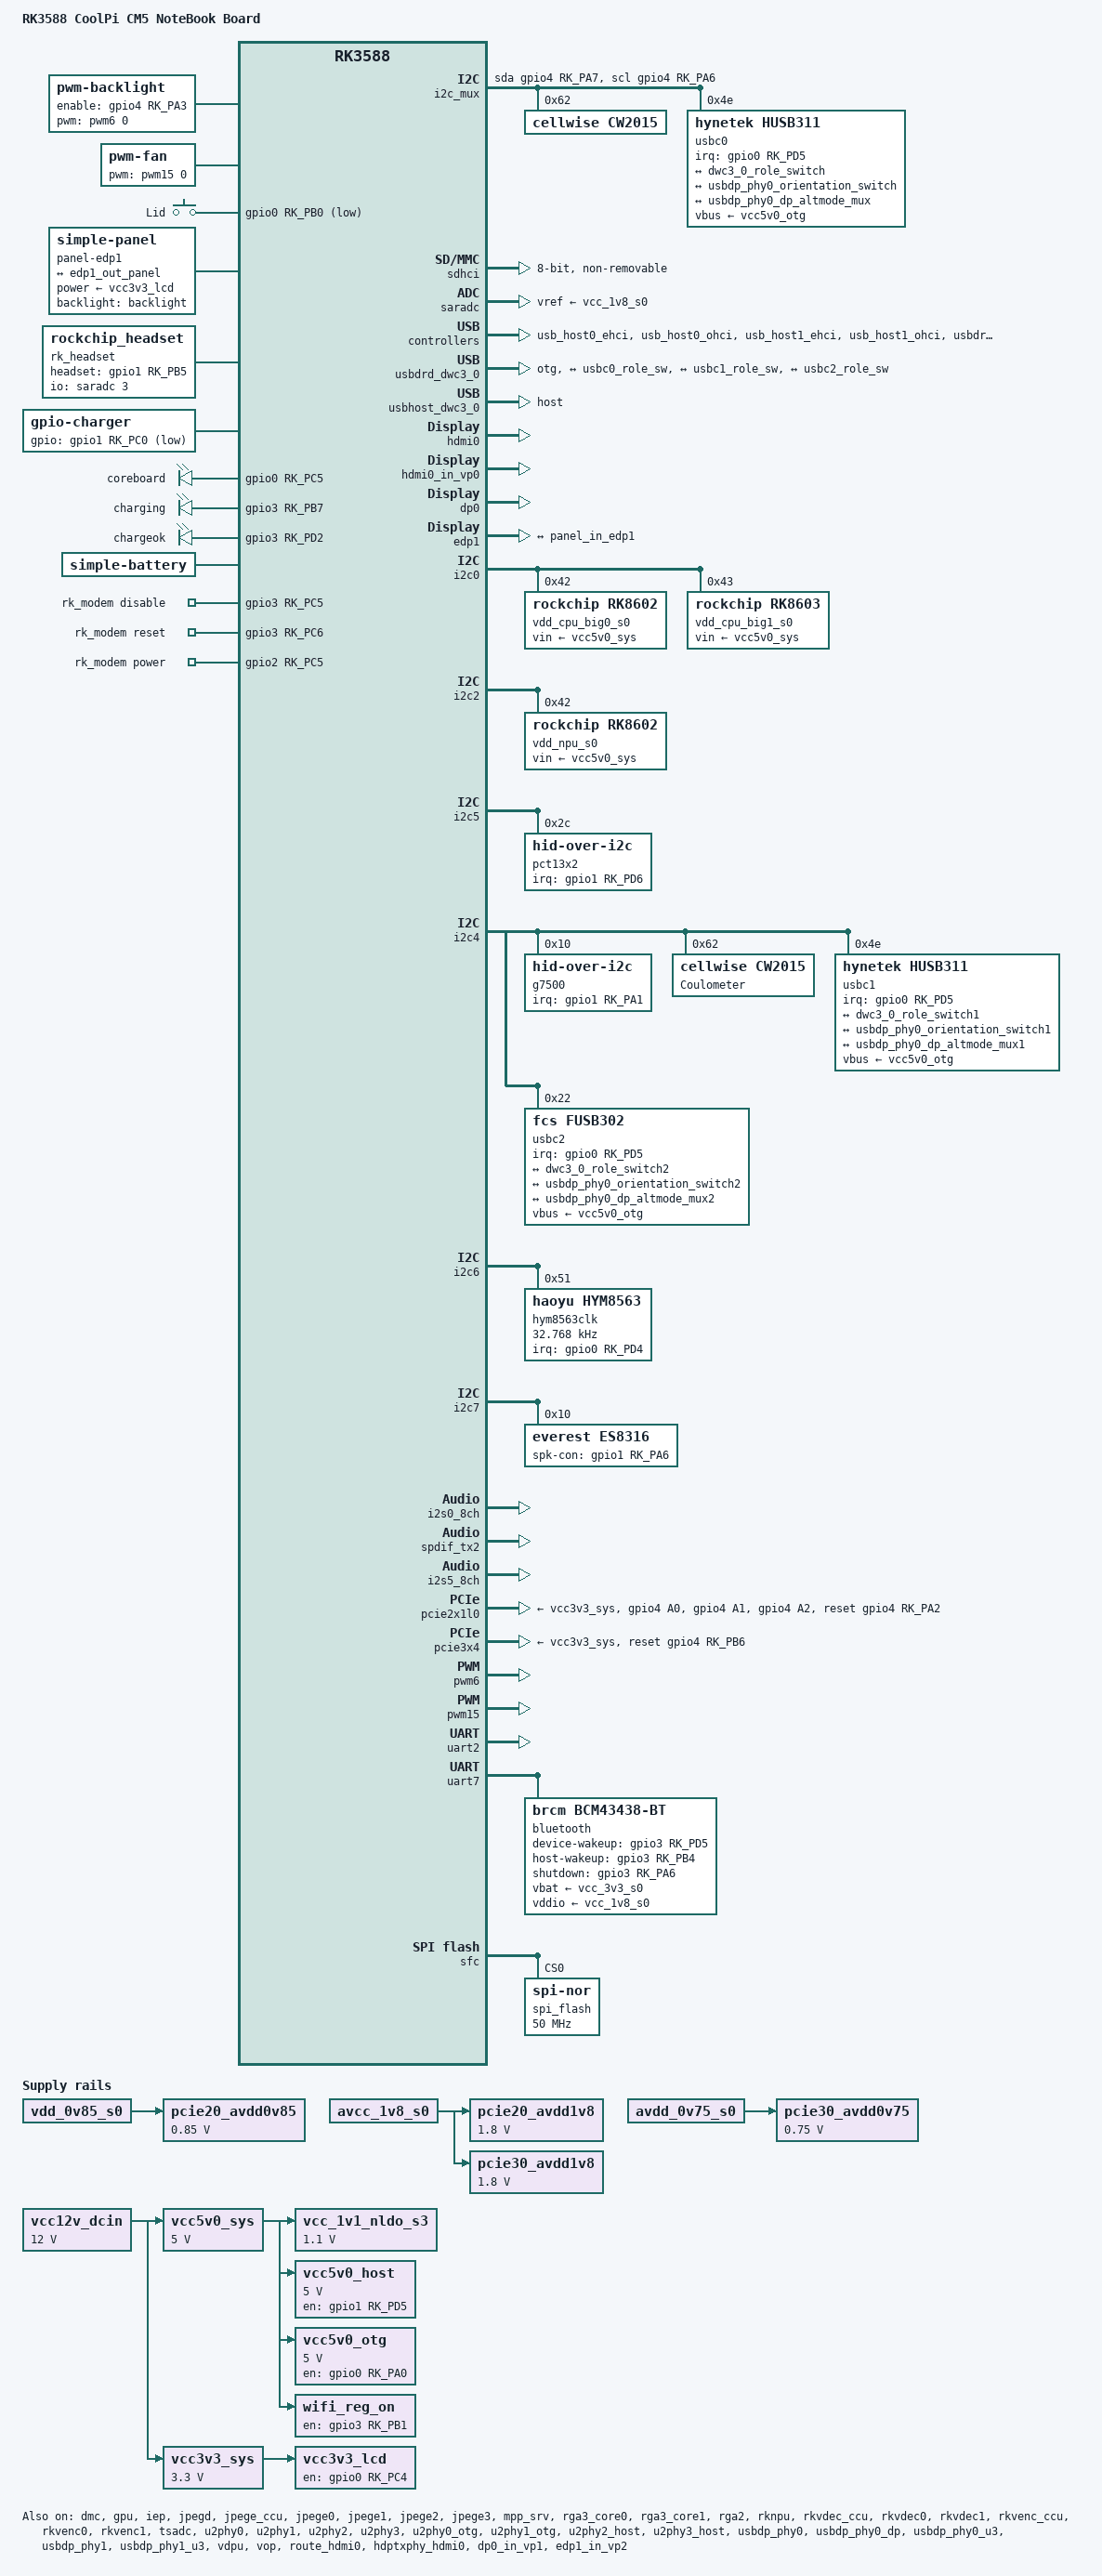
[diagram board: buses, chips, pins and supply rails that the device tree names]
// SPDX-License-Identifier: (GPL-2.0+ OR MIT)
/*
 * Copyright (c) 2021 Rockchip Electronics Co., Ltd.
 *
 */

/dts-v1/;

#include "dt-bindings/usb/pd.h"
#include "rk3588.dtsi"
#include <dt-bindings/gpio/gpio.h>
#include <dt-bindings/pwm/pwm.h>
#include <dt-bindings/pinctrl/rockchip.h>
#include <dt-bindings/input/rk-input.h>
#include <dt-bindings/display/drm_mipi_dsi.h>
#include <dt-bindings/display/rockchip_vop.h>
#include <dt-bindings/sensor-dev.h>
#include "rk3588-rk806-single.dtsi"
#include "rk3588-cpu-swap.dtsi"

/ {
	model = "RK3588 CoolPi CM5 NoteBook Board";
	compatible = "rockchip,rk3588-core", "rockchip,rk3588";

	aliases {
		mmc0 = &sdhci;
		mmc1 = &sdio;
		mmc2 = &sdmmc;
		serial0 = &uart2;
		serial1 = &uart7;
		serial2 = &uart6;
		serial3 = &uart3;
		serial4 = &uart4;
		serial5 = &uart5;
		serial6 = &uart0;
		serial7 = &uart9;
		serial8 = &uart8;
		serial9 = &uart1;
	};

	cspmu: cspmu@fd10c000 {
		compatible = "rockchip,cspmu";
		reg = <0x0 0xfd10c000 0x0 0x1000>,
		      <0x0 0xfd10d000 0x0 0x1000>,
		      <0x0 0xfd10e000 0x0 0x1000>,
		      <0x0 0xfd10f000 0x0 0x1000>,
		      <0x0 0xfd12c000 0x0 0x1000>,
		      <0x0 0xfd12d000 0x0 0x1000>,
		      <0x0 0xfd12e000 0x0 0x1000>,
		      <0x0 0xfd12f000 0x0 0x1000>;
	};

	debug: debug@fd104000 {
		compatible = "rockchip,debug";
		reg = <0x0 0xfd104000 0x0 0x1000>,
		      <0x0 0xfd105000 0x0 0x1000>,
		      <0x0 0xfd106000 0x0 0x1000>,
		      <0x0 0xfd107000 0x0 0x1000>,
		      <0x0 0xfd124000 0x0 0x1000>,
		      <0x0 0xfd125000 0x0 0x1000>,
		      <0x0 0xfd126000 0x0 0x1000>,
		      <0x0 0xfd127000 0x0 0x1000>;
	};

	fiq_debugger: fiq-debugger {
		compatible = "rockchip,fiq-debugger";
		rockchip,serial-id = <9>;
		rockchip,wake-irq = <0>;
		/* If enable uart uses irq instead of fiq */
		rockchip,irq-mode-enable = <1>;
		rockchip,baudrate = <115200>;  /* Only 115200 and 1500000 */
		interrupts = <GIC_SPI 423 IRQ_TYPE_LEVEL_LOW>;
		pinctrl-names = "default";
		pinctrl-0 = <&uart2m0_xfer>;
		status = "disabled";
	};

	ramoops: ramoops@110000 {
		compatible = "ramoops";
		reg = <0x0 0x110000 0x0 0xf0000>;
		record-size = <0x20000>;
		console-size = <0x80000>;
		ftrace-size = <0x00000>;
		pmsg-size = <0x50000>;
	};

	reserved-memory {
		#address-cells = <2>;
		#size-cells = <2>;
		ranges;

		cma {
			compatible = "shared-dma-pool";
			reusable;
			reg = <0x0 (256 * 0x100000) 0x0 (128 * 0x100000)>;
			linux,cma-default;
		};

		drm_logo: drm-logo@0 {
			compatible = "rockchip,drm-logo";
			reg = <0x0 0x0 0x0 0x0>;
		};
		
		drm_cubic_lut: drm-cubic-lut@0 {
			compatible = "rockchip,drm-cubic-lut";
			reg = <0x0 0x0 0x0 0x0>;
		};
	};

	backlight: backlight {
		compatible = "pwm-backlight";
		brightness-levels = <
			  0  20  20  21  21  22  22  23
			 23  24  24  25  25  26  26  27
			 27  28  28  29  29  30  30  31
			 31  32  32  33  33  34  34  35
			 35  36  36  37  37  38  38  39
			 40  41  42  43  44  45  46  47
			 48  49  50  51  52  53  54  55
			 56  57  58  59  60  61  62  63
			 64  65  66  67  68  69  70  71
			 72  73  74  75  76  77  78  79
			 80  81  82  83  84  85  86  87
			 88  89  90  91  92  93  94  95
			 96  97  98  99 100 101 102 103
			104 105 106 107 108 109 110 111
			112 113 114 115 116 117 118 119
			120 121 122 123 124 125 126 127
			128 129 130 131 132 133 134 135
			136 137 138 139 140 141 142 143
			144 145 146 147 148 149 150 151
			152 153 154 155 156 157 158 159
			160 161 162 163 164 165 166 167
			168 169 170 171 172 173 174 175
			176 177 178 179 180 181 182 183
			184 185 186 187 188 189 190 191
			192 193 194 195 196 197 198 199
			200 201 202 203 204 205 206 207
			208 209 210 211 212 213 214 215
			216 217 218 219 220 221 222 223
			224 225 226 227 228 229 230 231
			232 233 234 235 236 237 238 239
			240 241 242 243 244 245 246 247
			248 249 250 251 252 253 254 255
		>;
		default-brightness-level = <200>;
	};

	hdmi0_sound: hdmi0-sound {
		status = "disabled";
		compatible = "rockchip,hdmi";
		rockchip,mclk-fs = <128>;
		rockchip,card-name = "rockchip-hdmi0";
		rockchip,cpu = <&i2s5_8ch>;
		rockchip,codec = <&hdmi0>;
		rockchip,jack-det;
	};

	fan: pwm-fan {
		compatible = "pwm-fan";
		cooling-min-state = <0>;
		cooling-max-state = <3>;
		#cooling-cells = <2>;
		pwms = <&pwm15 0 50000 0>;
		cooling-levels = <1 50 100 150 200 254>;
		rockchip,temp-trips = <
			50000	1
			55000	2
			60000	3
			65000	4
			70000	5
		>;
	};
	
	gpio-key-lid {
		compatible = "gpio-keys";
		pinctrl-names = "default";
		pinctrl-0 = <&mh248_irq_gpio>;

		lid {
			debounce-interval = <20>;
			gpios = <&gpio0 RK_PB0 GPIO_ACTIVE_LOW>;
			label = "Lid";
			linux,code = <SW_LID>;
			linux,input-type = <EV_SW>;
			wakeup-source;
		};
	};

	panel-edp1 {
		compatible = "simple-panel";
		backlight = <&backlight>;
		power-supply = <&vcc3v3_lcd>;
		prepare-delay-ms = <120>;
		enable-delay-ms = <120>;
		unprepare-delay-ms = <120>;
		disable-delay-ms = <120>;
		width-mm = <129>;
		height-mm = <171>;

		port {
			panel_in_edp1: endpoint {
				remote-endpoint = <&edp1_out_panel>;
			};
		};
	};

	vcc3v3_lcd: vcc3v3-lcd {
		compatible = "regulator-fixed";
		regulator-name = "vcc3v3_lcd";
		enable-active-high;
		gpio = <&gpio0 RK_PC4 GPIO_ACTIVE_HIGH>;
		vin-supply = <&vcc3v3_sys>;
		pinctrl-names = "default";
		pinctrl-0 = <&lcdpwr_en>;

	};

	es8316_sound: es8316-sound {
		status = "okay";
		compatible = "simple-audio-card";
		simple-audio-card,format = "i2s";
		simple-audio-card,mclk-fs = <256>;
		simple-audio-card,name = "rockchip,es8316-codec";
		simple-audio-card,dai-link@0 {
			format = "i2s";
			cpu {
				sound-dai = <&i2s0_8ch>;
			};
			codec {
				sound-dai = <&es8316>;
			};
		};
    };
	
	rk_headset: rk-headset {
		compatible = "rockchip_headset";
		headset_gpio = <&gpio1 RK_PB5 GPIO_ACTIVE_HIGH>;
		pinctrl-names = "default";
		pinctrl-0 = <&hp_det>;
		io-channels = <&saradc 3>;
	};
	
	dp0_sound: dp0-sound {
		status = "disabled";
		compatible = "rockchip,hdmi";
		rockchip,card-name= "rockchip,dp0";
		rockchip,mclk-fs = <512>;
		rockchip,cpu = <&spdif_tx2>;
		rockchip,codec = <&dp0 1>;
		rockchip,jack-det;
	};

	charger: charger {
		compatible = "gpio-charger";
		charger-type = "mains";
		gpios = <&gpio1 RK_PC0 GPIO_ACTIVE_LOW>;
		status = "okay";
	};

	leds: leds {
		compatible = "gpio-leds";
		pinctrl-names = "default";
		pinctrl-0 =<&leds_gpio>;
		status = "okay";

		led1: led-cm5 {
			label = "coreboard";
			gpios = <&gpio0 RK_PC5 GPIO_ACTIVE_HIGH>;
			linux,default-trigger = "none";
		};

		led2: led-charging {
			label = "charging";
			gpios = <&gpio3 RK_PB7 GPIO_ACTIVE_HIGH>;
			linux,default-trigger = "cw2015-battery-charging";
		};

		led3: led-charge-full {
			label = "chargeok";
			gpios = <&gpio3 RK_PD2 GPIO_ACTIVE_HIGH>;
			linux,default-trigger = "cw2015-battery-full";
		};
	};

	test-power {
		status = "okay";
	};

	vcc12v_dcin: vcc12v-dcin {
		compatible = "regulator-fixed";
		regulator-name = "vcc12v_dcin";
		regulator-always-on;
		regulator-boot-on;
		regulator-min-microvolt = <12000000>;
		regulator-max-microvolt = <12000000>;
	};

	vcc5v0_sys: vcc5v0-sys {
		compatible = "regulator-fixed";
		regulator-name = "vcc5v0_sys";
		regulator-always-on;
		regulator-boot-on;
		regulator-min-microvolt = <5000000>;
		regulator-max-microvolt = <5000000>;
		vin-supply = <&vcc12v_dcin>;
	};

	vcc3v3_sys: vcc3v3-sys {
		compatible = "regulator-fixed";
		regulator-name = "vcc3v3_sys";
		regulator-always-on;
		regulator-boot-on;
		regulator-min-microvolt = <3300000>;
		regulator-max-microvolt = <3300000>;
		vin-supply = <&vcc12v_dcin>;

	};

	vcc_1v1_nldo_s3: vcc-1v1-nldo-s3 {
		compatible = "regulator-fixed";
		regulator-name = "vcc_1v1_nldo_s3";
		regulator-always-on;
		regulator-boot-on;
		regulator-min-microvolt = <1100000>;
		regulator-max-microvolt = <1100000>;
		vin-supply = <&vcc5v0_sys>;
	};

	pcie20_avdd0v85: pcie20-avdd0v85 {
		compatible = "regulator-fixed";
		regulator-name = "pcie20_avdd0v85";
		regulator-boot-on;
		regulator-always-on;
		regulator-min-microvolt = <850000>;
		regulator-max-microvolt = <850000>;
		vin-supply = <&vdd_0v85_s0>;
	};

	pcie20_avdd1v8: pcie20-avdd1v8 {
		compatible = "regulator-fixed";
		regulator-name = "pcie20_avdd1v8";
		regulator-boot-on;
		regulator-always-on;
		regulator-min-microvolt = <1800000>;
		regulator-max-microvolt = <1800000>;
		vin-supply = <&avcc_1v8_s0>;
	};

	pcie30_avdd0v75: pcie30-avdd0v75 {
		compatible = "regulator-fixed";
		regulator-name = "pcie30_avdd0v75";
		regulator-boot-on;
		regulator-always-on;
		regulator-min-microvolt = <750000>;
		regulator-max-microvolt = <750000>;
		vin-supply = <&avdd_0v75_s0>;
	};

	pcie30_avdd1v8: pcie30-avdd1v8 {
		compatible = "regulator-fixed";
		regulator-name = "pcie30_avdd1v8";
		regulator-boot-on;
		regulator-always-on;
		regulator-min-microvolt = <1800000>;
		regulator-max-microvolt = <1800000>;
		vin-supply = <&avcc_1v8_s0>;

	};

	vcc5v0_host: vcc5v0-host-regulator {
		compatible = "regulator-fixed";
		regulator-name = "vcc5v0_host";
		regulator-boot-on;
		regulator-always-on;
		regulator-min-microvolt = <5000000>;
		regulator-max-microvolt = <5000000>;
		enable-active-high;
		gpio = <&gpio1 RK_PD5 GPIO_ACTIVE_HIGH>;
		vin-supply = <&vcc5v0_sys>;
		pinctrl-names = "default";
		pinctrl-0 = <&vcc5v0_host1_en &keyboard_en>;
	};

	vcc5v0_otg: vcc5v0-otg-regulator {
		compatible = "regulator-fixed";
		regulator-name = "vcc5v0_otg";
		regulator-min-microvolt = <5000000>;
		regulator-max-microvolt = <5000000>;
		enable-active-high;
		gpios = <&gpio0 RK_PA0 GPIO_ACTIVE_HIGH>;
		vin-supply = <&vcc5v0_sys>;
		pinctrl-names = "default";
		pinctrl-0 = <&typec5v_pwren>;
	};

	bat: battery {
		compatible = "simple-battery";
		charge-full-design-microamp-hours = <9800000>;
		voltage-max-design-microvolt = <4350000>;
		voltage-min-design-microvolt = <3000000>;
	};

	wifi_reg_on: wifi-reg-on {
		compatible = "regulator-fixed";
		regulator-name = "wifi_on";
		regulator-boot-on;
		regulator-always-on;
		enable-active-high;
		gpio = <&gpio3 RK_PB1 GPIO_ACTIVE_HIGH>;
		vin-supply = <&vcc5v0_sys>;
		pinctrl-names = "default";
		pinctrl-0 = <&wifi_pwron>;
	};

	wireless_bluetooth: wireless-bluetooth {
		compatible = "bluetooth-platdata";
		clocks = <&hym8563clk>;
		clock-names = "ext_clock";
		uart_rts_gpios = <&gpio3 RK_PC2 GPIO_ACTIVE_LOW>;
		pinctrl-names = "default", "rts_gpio";
		pinctrl-0 = <&uart7m1_rtsn>, <&bt_reset_gpio>, <&bt_wake_gpio>, <&bt_wake_host_irq>;
		pinctrl-1 = <&uart7_gpios>;
		BT,reset_gpio    = <&gpio3 RK_PA6 GPIO_ACTIVE_HIGH>;
		BT,wake_gpio     = <&gpio3 RK_PD5 GPIO_ACTIVE_HIGH>;
		BT,wake_host_irq = <&gpio3 RK_PB4 GPIO_ACTIVE_HIGH>;
		status = "disabled";
	};

	i2c_mux: i2c-mux {
		compatible = "i2c-gpio";
		sda-gpios = <&gpio4 RK_PA7 (GPIO_ACTIVE_HIGH|GPIO_OPEN_DRAIN)>;
		scl-gpios = <&gpio4 RK_PA6 (GPIO_ACTIVE_HIGH|GPIO_OPEN_DRAIN)>;
		i2c-gpio,delay-us = <8>;
		#address-cells = <1>;
		#size-cells = <0>;
		status = "disabled";
	};
	
	rk_modem: rk-modem {
		compatible="4g-modem-platdata";
		pinctrl-names = "default";
		pinctrl-0 = <&lte_disable &lte_power_en &lte_reset>;
		4G,disable-gpio  = <&gpio3 RK_PC5 GPIO_ACTIVE_HIGH>;
		4G,reset-gpio = <&gpio3 RK_PC6 GPIO_ACTIVE_HIGH>;
		4G,power-gpio = <&gpio2 RK_PC5 GPIO_ACTIVE_HIGH>;
		status = "okay";
	};
};

&cpu_l0 {
	cpu-supply = <&vdd_cpu_lit_s0>;
	mem-supply = <&vdd_cpu_lit_mem_s0>;
};

&cpu_b0 {
	cpu-supply = <&vdd_cpu_big0_s0>;
	mem-supply = <&vdd_cpu_big0_mem_s0>;
};

&cpu_b2 {
	cpu-supply = <&vdd_cpu_big1_s0>;
	mem-supply = <&vdd_cpu_big1_mem_s0>;
};

&dmc {
	auto-freq-en = <1>;
	status = "okay";
};

&sdhci {
	bus-width = <8>;
	no-sdio;
	no-sd;
	non-removable;
	max-frequency = <200000000>;
	mmc-hs400-1_8v;
	mmc-hs400-enhanced-strobe;
	status = "okay";
};

&gpu {
	mali-supply = <&vdd_gpu_s0>;
	mem-supply = <&vdd_gpu_mem_s0>;
	status = "okay";
};

&iep {
	status = "okay";
};

&iep_mmu {
	status = "okay";
};

&jpegd {
	status = "okay";
};

&jpegd_mmu {
	status = "okay";
};

&jpege_ccu {
	status = "okay";
};

&jpege0 {
	status = "okay";
};

&jpege0_mmu {
	status = "okay";
};

&jpege1 {
	status = "okay";
};

&jpege1_mmu {
	status = "okay";
};

&jpege2 {
	status = "okay";
};

&jpege2_mmu {
	status = "okay";
};

&jpege3 {
	status = "okay";
};

&jpege3_mmu {
	status = "okay";
};

&mpp_srv {
	status = "okay";
};

&rga3_core0 {
	status = "okay";
};

&rga3_0_mmu {
	status = "okay";
};

&rga3_core1 {
	status = "okay";
};

&rga3_1_mmu {
	status = "okay";
};

&rga2 {
	status = "okay";
};

&rknpu {
	rknpu-supply = <&vdd_npu_s0>;
	mem-supply = <&vdd_npu_mem_s0>;
	status = "okay";
};

&rknpu_mmu {
	status = "okay";
};

&rkvdec_ccu {
	status = "okay";
};

&rkvdec0 {
	status = "okay";
};

&rkvdec0_mmu {
	status = "okay";
};

&rkvdec1 {
	status = "okay";
};

&rkvdec1_mmu {
	status = "okay";
};

&rkvenc_ccu {
	status = "okay";
};

&rkvenc0 {
	status = "okay";
};

&rkvenc0_mmu {
	status = "okay";
};

&rkvenc1 {
	status = "okay";
};

&rkvenc1_mmu {
	status = "okay";
};

&rockchip_suspend {
	status = "okay";
	rockchip,sleep-debug-en = <1>;
};

&saradc {
	status = "okay";
	vref-supply = <&vcc_1v8_s0>;
};

&tsadc {
	status = "okay";
};

&u2phy0 {
	status = "okay";
};

&u2phy1 {
	status = "okay";
};

&u2phy2 {
	status = "okay";
};

&u2phy3 {
	status = "okay";
};

&u2phy0_otg {
	rockchip,typec-vbus-det;
	status = "okay";
};

&u2phy1_otg {
	phy-supply = <&vcc5v0_host>;
	status = "okay";
};

&u2phy2_host {
	status = "okay";
};

&u2phy3_host {
	status = "okay";
};

&usb_host0_ehci {
	status = "okay";
};

&usb_host0_ohci {
	status = "okay";
};

&usb_host1_ehci {
	status = "okay";
};

&usb_host1_ohci {
	status = "okay";
};

&usbdp_phy0 {
	orientation-switch;
	svid = <0xff01>;
	sbu1-dc-gpios = <&gpio4 RK_PA4 GPIO_ACTIVE_HIGH>;
	sbu2-dc-gpios = <&gpio4 RK_PA5 GPIO_ACTIVE_HIGH>;
	status = "okay";
	port {
		#address-cells = <1>;
		#size-cells = <0>;
		usbdp_phy0_orientation_switch: endpoint@0 {
			reg = <0>;
			remote-endpoint = <&usbc0_orien_sw>;
		};

		usbdp_phy0_dp_altmode_mux: endpoint@1 {
			reg = <1>;
			remote-endpoint = <&dp_altmode_mux>;
		};
		
		usbdp_phy0_orientation_switch1: endpoint@2 {
			reg = <2>;
			remote-endpoint = <&usbc0_orien_sw1>;
		};

		usbdp_phy0_dp_altmode_mux1: endpoint@3 {
			reg = <3>;
			remote-endpoint = <&dp_altmode_mux1>;
		};
		
		usbdp_phy0_orientation_switch2: endpoint@4 {
			reg = <4>;
			remote-endpoint = <&usbc0_orien_sw2>;
		};

		usbdp_phy0_dp_altmode_mux2: endpoint@5 {
			reg = <5>;
			remote-endpoint = <&dp_altmode_mux2>;
		};
	};
};

&usbdp_phy0_dp {
	status = "okay";
};

&usbdp_phy0_u3 {
	status = "okay";
};

&usbdrd3_0 {
	status = "okay";
};

&usbdrd_dwc3_0 {
	dr_mode = "otg";
	status = "okay";
	usb-role-switch;
	port {
		#address-cells = <1>;
		#size-cells = <0>;
		dwc3_0_role_switch: endpoint@0 {
			reg = <0>;
			remote-endpoint = <&usbc0_role_sw>;
		};
		dwc3_0_role_switch1: endpoint@1 {
			reg = <1>;
			remote-endpoint = <&usbc1_role_sw>;
		};
		dwc3_0_role_switch2: endpoint@2 {
			reg = <2>;
			remote-endpoint = <&usbc2_role_sw>;
		};
	};
};

&usbhost3_0 {
	status = "okay";
};

&usbhost_dwc3_0 {
	dr_mode = "host";
	status = "okay";
};

&usbdp_phy1 {
	rockchip,dp-lane-mux = < 2 3 >;
	status = "okay";
};

&usbdp_phy1_dp {
	status = "disabled";
};

&usbdp_phy1_u3 {
	status = "okay";
};

&usbdrd3_1 {
	status = "okay";
};

&usbdrd_dwc3_1 {
	status = "okay";
};

&vdpu {
	status = "okay";
};

&vdpu_mmu {
	status = "okay";
};

&vop {
	status = "okay";
};

&vop_mmu {
	status = "okay";
};

/* vp0 & vp1 splice for 8K output */
&vp0 {
	cursor-win-id=<ROCKCHIP_VOP2_CLUSTER0>;
	rockchip,plane-mask = <(1 << ROCKCHIP_VOP2_CLUSTER0 | 1 << ROCKCHIP_VOP2_ESMART0)>;
	rockchip,primary-plane = <ROCKCHIP_VOP2_ESMART0>;
};

&vp1 {
	cursor-win-id=<ROCKCHIP_VOP2_CLUSTER1>;
	rockchip,plane-mask = <(1 << ROCKCHIP_VOP2_CLUSTER1 | 1 << ROCKCHIP_VOP2_ESMART1)>;
	rockchip,primary-plane = <ROCKCHIP_VOP2_ESMART1>;
};

&vp2 {
	cursor-win-id=<ROCKCHIP_VOP2_CLUSTER2>;
	rockchip,plane-mask = <(1 << ROCKCHIP_VOP2_CLUSTER2 | 1 << ROCKCHIP_VOP2_ESMART2)>;
	rockchip,primary-plane = <ROCKCHIP_VOP2_ESMART2>;
};

&vp3 {
	cursor-win-id=<ROCKCHIP_VOP2_CLUSTER3>;
	rockchip,plane-mask = <(1 << ROCKCHIP_VOP2_CLUSTER3 | 1 << ROCKCHIP_VOP2_ESMART3)>;
	rockchip,primary-plane = <ROCKCHIP_VOP2_ESMART3>;
};


/*&vcc_1v8_s0 {
	/delete-property/ regulator-state-mem;
	regulator-state-mem {
		regulator-on-in-suspend;
		regulator-suspend-microvolt = <1800000>;
	};
};

&vcc_3v3_s0 {
	/delete-property/ regulator-state-mem;
	regulator-state-mem {
		regulator-on-in-suspend;
		regulator-suspend-microvolt = <3300000>;
	};
};*/

&backlight {
	pwms = <&pwm6 0 100000 0>;
	enable-gpios = <&gpio4 RK_PA3 GPIO_ACTIVE_HIGH>;
	pinctrl-names = "default";
	pinctrl-0 = <&bl_en>;
	status = "okay";
};

&hdmi0 {
	pinctrl-names = "default";
	pinctrl-0 = <&hdmim0_tx0_hpd &hdmim0_tx0_scl &hdmim0_tx0_sda>;
	enable-gpios = <&gpio4 RK_PB0 GPIO_ACTIVE_HIGH>;
	status = "okay";
};

&hdmi0_in_vp0 {
	status = "okay";
};

&hdmi0_sound {
	status = "okay";
};

&route_hdmi0 {
	status = "okay";
	logo,uboot = "logo.bmp";
	logo,kernel = "logo_kernel.bmp";
	logo,mode = "center";
	charge_logo,mode = "center";
	connect = <&vp0_out_hdmi0>;
};

&hdptxphy_hdmi0 {
	status = "okay";
};

&dp0 {
	status = "okay";
};

&dp0_in_vp1 {
	status = "okay";
};

&dp0_sound{
	status = "okay";
};

&edp1 {
	force-hpd;
	status = "okay";
	ports {
		port@1 {
			reg = <1>;
			edp1_out_panel: endpoint {
				remote-endpoint = <&panel_in_edp1>;
			};
		};
	};
};

&edp1_in_vp2 {
	status = "okay";
};

&route_edp1{
	status = "okay";
	logo,uboot = "logo.bmp";
	logo,kernel = "logo_kernel.bmp";
	logo,mode = "center";
	charge_logo,mode = "center";
	connect = <&vp2_out_edp1>;
};

&hdptxphy1 {
	status = "okay";
};

&i2c0 {
	status = "okay";
	pinctrl-names = "default";
	pinctrl-0 = <&i2c0m2_xfer>;

	vdd_cpu_big0_s0: vdd_cpu_big0_mem_s0: rk8602@42 {
		compatible = "rockchip,rk8602";
		reg = <0x42>;
		vin-supply = <&vcc5v0_sys>;
		regulator-compatible = "rk860x-reg";
		regulator-name = "vdd_cpu_big0_s0";
		regulator-min-microvolt = <550000>;
		regulator-max-microvolt = <1050000>;
		regulator-ramp-delay = <2300>;
		rockchip,suspend-voltage-selector = <1>;
		regulator-boot-on;
		regulator-always-on;
		regulator-state-mem {
			regulator-off-in-suspend;
		};
	};

	vdd_cpu_big1_s0: vdd_cpu_big1_mem_s0: rk8603@43 {
		compatible = "rockchip,rk8603";
		reg = <0x43>;
		vin-supply = <&vcc5v0_sys>;
		regulator-compatible = "rk860x-reg";
		regulator-name = "vdd_cpu_big1_s0";
		regulator-min-microvolt = <550000>;
		regulator-max-microvolt = <1050000>;
		regulator-ramp-delay = <2300>;
		rockchip,suspend-voltage-selector = <1>;
		regulator-boot-on;
		regulator-always-on;
		regulator-state-mem {
			regulator-off-in-suspend;
		};
	};
};

&i2c2 {
	status = "okay";

	vdd_npu_s0: vdd_npu_mem_s0: rk8602@42 {
		compatible = "rockchip,rk8602";
		reg = <0x42>;
		vin-supply = <&vcc5v0_sys>;
		regulator-compatible = "rk860x-reg";
		regulator-name = "vdd_npu_s0";
		regulator-min-microvolt = <550000>;
		regulator-max-microvolt = <950000>;
		regulator-ramp-delay = <2300>;
		rockchip,suspend-voltage-selector = <1>;
		regulator-boot-on;
		regulator-always-on;
		regulator-state-mem {
			regulator-off-in-suspend;
		};
	};
};

&i2c5 {
	status = "okay";
	pinctrl-names = "default";
	pinctrl-0 = <&i2c5m3_xfer>;

	pct13x2: pct13x2@2c {
		compatible = "hid-over-i2c";
		reg = <0x2c>;
		interrupt-parent = <&gpio1>;
		interrupts = <RK_PD6 IRQ_TYPE_LEVEL_LOW>;
		hid-descr-addr = <0x0020>;
		status = "okay";
	};
};

&i2c4 {
	status = "okay";
	pinctrl-names = "default";
	pinctrl-0 = <&i2c4m3_xfer>;
	
	g7500: g7500@10 {
		compatible = "hid-over-i2c";
		reg = <0x10>;
		interrupt-parent = <&gpio1>;
		interrupts = <RK_PA1 IRQ_TYPE_LEVEL_LOW>;
		pinctrl-names = "default";
		pinctrl-0 = <&tp_int &tp_rst>;
		hid-descr-addr = <0x0001>;
		status = "okay";
	};

	Coulometer: cw2015@62 {
		compatible = "cellwise,cw2015";
		reg = <0x62>;

		cellwise,battery-profile = /bits/ 8 <
			0x17 0x67 0x69 0x63 0x63 0x62 0x62 0x5F
			0x52 0x73 0x4C 0x5A 0x5B 0x4B 0x42 0x3A
			0x33 0x2D 0x29 0x28 0x2E 0x31 0x3C 0x49
			0x2C 0x2C 0x0C 0xCD 0x30 0x51 0x50 0x66
			0x74 0x74 0x75 0x78 0x41 0x1B 0x84 0x5F
			0x0B 0x34 0x1C 0x45 0x89 0x92 0xA0 0x13
			0x2C 0x55 0xAB 0xCB 0x80 0x5E 0x7B 0xCB
			0x2F 0x00 0x64 0xA5 0xB5 0x10 0x18 0x21
		>;

		cellwise,monitor-interval-ms = <3000>;
		monitored-battery = <&bat>;
		power-supplies = <&charger>;
		status = "okay";
	};

	usbc1: husb311@4e {
		compatible = "hynetek,husb311";
		reg = <0x4e>;
		interrupt-parent = <&gpio0>;
		interrupts = <RK_PD5 IRQ_TYPE_LEVEL_LOW>;
		pinctrl-names = "default";
		pinctrl-0 = <&usbc0_int>;
		vbus-supply = <&vcc5v0_otg>;
		status = "okay";

		ports {
			#address-cells = <1>;
			#size-cells = <0>;

			port@0 {
				reg = <0>;
				usbc1_role_sw: endpoint@0 {
					remote-endpoint = <&dwc3_0_role_switch1>;
				};
			};
		};
		usb_con1: connector {
			compatible = "usb-c-connector";
			label = "USB-C";
			data-role = "dual";
			power-role = "dual";
			try-power-role = "sink";
			op-sink-microwatt = <1000000>;
			sink-pdos =
				<PDO_FIXED(5000, 3000, PDO_FIXED_USB_COMM)
				 PDO_FIXED(9000, 3000, PDO_FIXED_USB_COMM)
				 PDO_FIXED(12000, 3000, PDO_FIXED_USB_COMM)>;
			source-pdos =
				<PDO_FIXED(5000, 3000, PDO_FIXED_USB_COMM)>;

			altmodes {
				#address-cells = <1>;
				#size-cells = <0>;

				altmode@0 {
					reg = <0>;
					svid = <0xff01>;
					vdo = <0xffffffff>;
				};
			};

			ports {
				#address-cells = <1>;
				#size-cells = <0>;

				port@0 {
					reg = <0>;
					usbc0_orien_sw1: endpoint {
						remote-endpoint = <&usbdp_phy0_orientation_switch1>;
					};
				};

				port@1 {
					reg = <1>;
					dp_altmode_mux1: endpoint {
						remote-endpoint = <&usbdp_phy0_dp_altmode_mux1>;
					};
				};
			};
		};
		
	};

	usbc2: fusb302@22 {
		compatible = "fcs,fusb302";
		reg = <0x22>;
		interrupt-parent = <&gpio0>;
		interrupts = <RK_PD5 IRQ_TYPE_LEVEL_LOW>;
		pinctrl-names = "default";
		pinctrl-0 = <&usbc0_int>;
		vbus-supply = <&vcc5v0_otg>;
		status = "okay";

		ports {
			#address-cells = <1>;
			#size-cells = <0>;

			port@0 {
				reg = <0>;
				usbc2_role_sw: endpoint@0 {
					remote-endpoint = <&dwc3_0_role_switch2>;
				};
			};
		};
		usb_con2: connector {
			compatible = "usb-c-connector";
			label = "USB-C";
			data-role = "dual";
			power-role = "dual";
			try-power-role = "sink";
			op-sink-microwatt = <1000000>;
			sink-pdos =
				<PDO_FIXED(5000, 3000, PDO_FIXED_USB_COMM)
				 PDO_FIXED(9000, 3000, PDO_FIXED_USB_COMM)
				 PDO_FIXED(12000, 3000, PDO_FIXED_USB_COMM)>;
			source-pdos =
				<PDO_FIXED(5000, 3000, PDO_FIXED_USB_COMM)>;

			altmodes {
				#address-cells = <1>;
				#size-cells = <0>;

				altmode@0 {
					reg = <0>;
					svid = <0xff01>;
					vdo = <0xffffffff>;
				};
			};

			ports {
				#address-cells = <1>;
				#size-cells = <0>;

				port@0 {
					reg = <0>;
					usbc0_orien_sw2: endpoint {
						remote-endpoint = <&usbdp_phy0_orientation_switch2>;
					};
				};

				port@1 {
					reg = <1>;
					dp_altmode_mux2: endpoint {
						remote-endpoint = <&usbdp_phy0_dp_altmode_mux2>;
					};
				};
			};
		};
		
	};
};


&i2c_mux {
	status = "okay";

	cw2015: cw2015@62 {
		compatible = "cellwise,cw2015";
		reg = <0x62>;

		cellwise,battery-profile = /bits/ 8 <
			0x17 0x67 0x69 0x63 0x63 0x62 0x62 0x5F
			0x52 0x73 0x4C 0x5A 0x5B 0x4B 0x42 0x3A
			0x33 0x2D 0x29 0x28 0x2E 0x31 0x3C 0x49
			0x2C 0x2C 0x0C 0xCD 0x30 0x51 0x50 0x66
			0x74 0x74 0x75 0x78 0x41 0x1B 0x84 0x5F
			0x0B 0x34 0x1C 0x45 0x89 0x92 0xA0 0x13
			0x2C 0x55 0xAB 0xCB 0x80 0x5E 0x7B 0xCB
			0x2F 0x00 0x64 0xA5 0xB5 0x10 0x18 0x21
		>;

		cellwise,monitor-interval-ms = <3000>;
		monitored-battery = <&bat>;
		power-supplies = <&charger>;
		status = "okay";
	};

	usbc0: husb311@4e {
		compatible = "hynetek,husb311";
		reg = <0x4e>;
		interrupt-parent = <&gpio0>;
		interrupts = <RK_PD5 IRQ_TYPE_LEVEL_LOW>;
		pinctrl-names = "default";
		pinctrl-0 = <&usbc0_int>;
		vbus-supply = <&vcc5v0_otg>;
		status = "okay";

		ports {
			#address-cells = <1>;
			#size-cells = <0>;

			port@0 {
				reg = <0>;
				usbc0_role_sw: endpoint@0 {
					remote-endpoint = <&dwc3_0_role_switch>;
				};
			};
		};

		usb_con: connector {
			compatible = "usb-c-connector";
			label = "USB-C";
			data-role = "dual";
			power-role = "dual";
			try-power-role = "sink";
			op-sink-microwatt = <1000000>;
			sink-pdos =
				<PDO_FIXED(5000, 1000, PDO_FIXED_USB_COMM)>;
			source-pdos =
				<PDO_FIXED(5000, 3000, PDO_FIXED_USB_COMM)>;

			altmodes {
				#address-cells = <1>;
				#size-cells = <0>;

				altmode@0 {
					reg = <0>;
					svid = <0xff01>;
					vdo = <0xffffffff>;
				};
			};

			ports {
				#address-cells = <1>;
				#size-cells = <0>;

				port@0 {
					reg = <0>;
					usbc0_orien_sw: endpoint {
						remote-endpoint = <&usbdp_phy0_orientation_switch>;
					};
				};

				port@1 {
					reg = <1>;
					dp_altmode_mux: endpoint {
						remote-endpoint = <&usbdp_phy0_dp_altmode_mux>;
					};
				};
			};
		};
	};
};

&i2c6 {
	status = "okay";
	hym8563clk: hym8563@51 {
		compatible = "haoyu,hym8563";
		reg = <0x51>;
		#clock-cells = <0>;
		clock-frequency = <32768>;
		clock-output-names = "hym8563clk";
		pinctrl-names = "default";
		pinctrl-0 = <&hym8563_int>;
		interrupt-parent = <&gpio0>;
		interrupts = <RK_PD4 IRQ_TYPE_LEVEL_LOW>;
		wakeup-source;
	};
};

&i2c7 {
	status = "okay";
	pinctrl-names = "default";
	pinctrl-0 = <&i2c7m0_xfer>;
	es8316: es8316@10 {
		status = "okay";
		#sound-dai-cells = <0>;
		compatible = "everest,es8316";
		reg = <0x10>;
		clocks = <&mclkout_i2s0>;
		clock-names = "mclk";
		spk-con-gpio = <&gpio1 RK_PA6 GPIO_ACTIVE_HIGH>;
		assigned-clocks = <&mclkout_i2s0>;
		assigned-clock-rates = <12288000>;
		pinctrl-names = "default";
		pinctrl-0 = <&i2s0_mclk>;
		extcon = <&rk_headset>;
	};
};

&i2s0_8ch {
	status = "okay";
	pinctrl-0 = <&i2s0_lrck
		     &i2s0_sclk
		     &i2s0_sdi0
		     &i2s0_sdo0>;
};

&spdif_tx2 {
	status = "okay";
};

&i2s5_8ch {
	status = "okay";
};

&pcie30phy {
	rockchip,pcie30-phymode = <PHY_MODE_PCIE_AGGREGATION>;
	status = "okay";
};
//YT6801S
&combphy0_ps {
	status = "disabled";
};
//WIFI
&combphy1_ps {
    status = "okay";
};
//5G
&combphy2_psu {
	status = "okay";
};

//wifi
&pcie2x1l0 {
	reset-gpios = <&gpio4 RK_PA2 GPIO_ACTIVE_HIGH>;
	vpcie3v3-supply = <&vcc3v3_sys>;
	pinctrl-names = "default";
	pinctrl-0 = <&pcie_clkreq &pcie_wake &pcie_rst>;
	status = "okay";
};

&sata1 {
	status = "disabled";
};

//ssd
&pcie3x4 {
	reset-gpios = <&gpio4 RK_PB6 GPIO_ACTIVE_HIGH>;
	vpcie3v3-supply = <&vcc3v3_sys>;
	status = "okay";
};

&pwm6 {
	pinctrl-names = "active";
	pinctrl-0 = <&pwm6m1_pins>;
	status = "okay";
};

&pwm15 {
	pinctrl-names = "active";
	pinctrl-0 = <&pwm15m3_pins>;
	status = "okay";
};

&uart2 {
	status = "okay";
	pinctrl-names = "default";
	pinctrl-0 = <&uart2m0_xfer>;
};

&uart7 {
	status = "okay";
	pinctrl-names = "default";
	pinctrl-0 = <&uart7m1_xfer &uart7m1_ctsn>;

	bluetooth {
		compatible = "brcm,bcm43438-bt";
		clocks = <&hym8563clk>;
		clock-names = "ext_clock";
		device-wakeup-gpios = <&gpio3 RK_PD5 GPIO_ACTIVE_HIGH>;
		host-wakeup-gpios = <&gpio3 RK_PB4 GPIO_ACTIVE_HIGH>;
		shutdown-gpios = <&gpio3 RK_PA6 GPIO_ACTIVE_HIGH>;
		max-speed = <3000000>;
		pinctrl-names = "default";
		pinctrl-0 = <&bt_reset_gpio &bt_wake_gpio &bt_wake_host_irq &uart7m1_rtsn>;
		vbat-supply = <&vcc_3v3_s0>;
		vddio-supply = <&vcc_1v8_s0>;
		status = "okay";
	};
};

&display_subsystem {
	memory-region = <&drm_logo>;
	memory-region-names = "drm-logo";
};

&rng {
	status = "okay";
};

&sfc {
	status = "okay";
	max-freq = <50000000>;
	#address-cells = <1>;
	#size-cells = <0>;
	pinctrl-names = "default";
	pinctrl-0 = <&fspim2_pins>;

	spi_flash: spi-flash@0 {
		#address-cells = <1>;
		#size-cells = <0>;
		compatible = "jedec,spi-nor";
		reg = <0x0>;
		spi-max-frequency = <50000000>;
		spi-tx-bus-width = <1>;
		spi-rx-bus-width = <4>;
		status = "okay";
	};
};

&pinctrl {
	hym8563 {
		hym8563_int: hym8563-int {
			rockchip,pins = <0 RK_PD4 RK_FUNC_GPIO &pcfg_pull_up>;
		};
	};

	gpio-leds {
		leds_gpio: leds-gpio {
			rockchip,pins =
				<0 RK_PC5 RK_FUNC_GPIO &pcfg_pull_down>,
				<3 RK_PB7 RK_FUNC_GPIO &pcfg_pull_down>,
				<3 RK_PD2 RK_FUNC_GPIO &pcfg_pull_down>;
		};
	};

	wireless-bluetooth {
		uart7_gpios: uart7-gpios {
			rockchip,pins = <3 RK_PC2 RK_FUNC_GPIO &pcfg_pull_none>;
		};

		bt_reset_gpio: bt-reset-gpio {
			rockchip,pins = <3 RK_PA6 RK_FUNC_GPIO &pcfg_pull_none>;
		};

		bt_wake_gpio: bt-wake-gpio {
			rockchip,pins = <3 RK_PD5 RK_FUNC_GPIO &pcfg_pull_none>;
		};

		bt_wake_host_irq: bt-wake-host-irq {
			rockchip,pins = <3 RK_PB4 RK_FUNC_GPIO &pcfg_pull_down>;
		};
	};

	headphone {
		hp_det: hp-det {
			rockchip,pins = <1 RK_PB5 RK_FUNC_GPIO &pcfg_pull_up>;
		};
	};

	usb {
		vcc5v0_host1_en: vcc5v0-host1-en {
			rockchip,pins = <1 RK_PD5 RK_FUNC_GPIO &pcfg_output_high>;
		};

		keyboard_en: keyboard-en {
			rockchip,pins = <1 RK_PA7 RK_FUNC_GPIO &pcfg_output_high>;
		};
	};

	usb-typec {
		usbc0_int: usbc0-int {
			rockchip,pins = <0 RK_PD5 RK_FUNC_GPIO &pcfg_pull_up>;
		};

		typec5v_pwren: typec5v-pwren {
			rockchip,pins = <0 RK_PA0 RK_FUNC_GPIO &pcfg_pull_down>;
		};
	};

	wifi {
		pcie_rst: pcie-rst {
			rockchip,pins = <4 RK_PA2 RK_FUNC_GPIO &pcfg_pull_up>;
		};

		pcie_clkreq: pcie-clkreq {
			rockchip,pins = <4 RK_PA0 RK_FUNC_GPIO &pcfg_pull_up>;
		};

		pcie_wake: pcie-wake {
			rockchip,pins = <4 RK_PA1 RK_FUNC_GPIO &pcfg_pull_up>;
		};

		wifi_pwron: wifi-pwron {
			rockchip,pins = <3 RK_PB1 RK_FUNC_GPIO &pcfg_pull_up>;
		};
	};

	lcd {
		lcdpwr_en: lcdpwr-en {
			rockchip,pins = <0 RK_PC4 RK_FUNC_GPIO &pcfg_pull_down>;
		};

		bl_en: bl-en {
			rockchip,pins = <4 RK_PA3 RK_FUNC_GPIO &pcfg_pull_none>;
		};
	};

	sensor {
		mh248_irq_gpio: mh248_irq_gpio {
			rockchip,pins = <0 RK_PB0 RK_FUNC_GPIO &pcfg_pull_up>;
		};
	};
	
	touch {
		tp_int: tp-int {
			rockchip,pins = <1 RK_PA1 RK_FUNC_GPIO &pcfg_pull_up>;
		};
		tp_rst: tp-rst {
			rockchip,pins = <1 RK_PA0 RK_FUNC_GPIO &pcfg_pull_up>;
		};
	};
	
	rk-modem {
		lte_disable: lte-disable {
			rockchip,pins = <3 RK_PC5 RK_FUNC_GPIO &pcfg_pull_up>;
		};

		lte_power_en: lte-power-en {
			rockchip,pins = <2 RK_PC5 RK_FUNC_GPIO &pcfg_pull_up>;
		};

		lte_reset: lte-reset {
			rockchip,pins = <3 RK_PC6 RK_FUNC_GPIO &pcfg_pull_up>;
		};
	};
};

